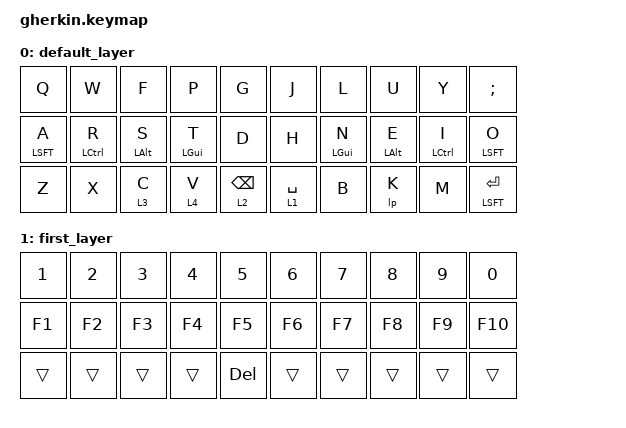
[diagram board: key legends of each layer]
/*
 * Copyright (c) 2020 The ZMK Contributors
 *
 * SPDX-License-Identifier: MIT
 */

#include <behaviors.dtsi>
#include <dt-bindings/zmk/keys.h>
#include <dt-bindings/zmk/bt.h>

/ {
    keymap {
        compatible = "zmk,keymap";

        default_layer {
            bindings = <&kp Q &kp W &kp F &kp P &kp G &kp J &kp L &kp U &kp Y &kp SEMI 
                        &mt LSFT A &mt LCTL R &mt LALT S &mt LGUI T &kp D &kp H &mt LGUI N &mt LALT E &mt LCTL I &mt LSFT O 
                        &kp Z &kp X &lt 3 C &lt 4 V &lt 2 BSPC &lt 1 SPACE &kp B &lp K &kp M &mt LSFT RET
                        >;
        };

        first_layer {
            bindings =
                <&kp N1 &kp N2 &kp N3 &kp N4 &kp N5 &kp N6 &kp N7 &kp N8 &kp N9 &kp N0
                 &kp F1 &kp F2 &kp F3 &kp F4 &kp F5 &kp F6 &kp F7 &kp F8 &kp F9 &kp F10
                 &trans &trans &trans &trans &kp DEL &trans &trans &trans &trans &trans
                 >;
        };
    };
};
